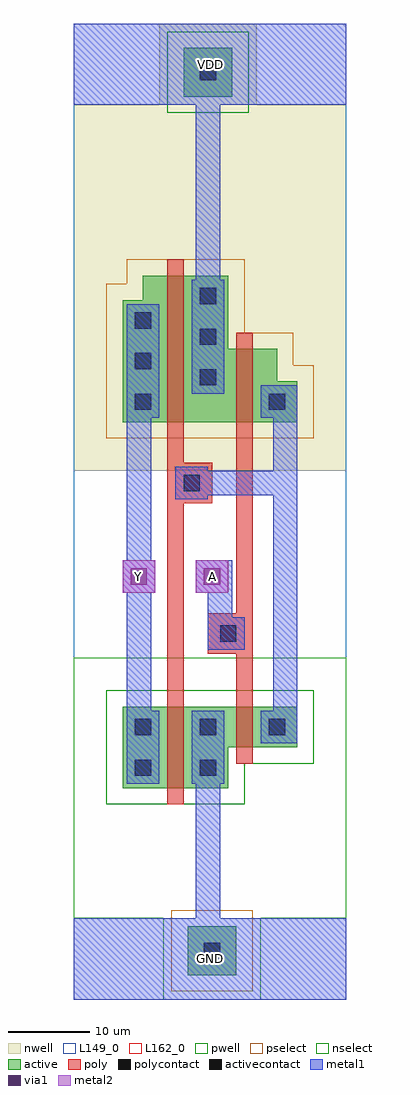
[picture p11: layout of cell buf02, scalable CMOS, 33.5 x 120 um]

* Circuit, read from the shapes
.subckt buf02 A GND VDD Y
M1 GND n1 Y GND nfet w=10u l=2u
M2 n1 A GND GND nfet w=5u l=2u
M3 VDD n1 Y VDD pfet w=18u l=2u
M4 n1 A VDD VDD pfet w=9u l=2u
.ends

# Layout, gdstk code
from math import pi, radians
import gdstk
lib = gdstk.Library(unit=1e-6, precision=1e-09)
def R(c, l, rs):  # rectangles x0, y0, x1, y1
    for r in rs: c.add(gdstk.rectangle(r[:2], r[2:], *l))
def A(c, l, x, y, w, h, nx, ny, dx, dy):  # array of equal rectangles
    R(c, l, [(x+i*dx, y+j*dy, x+i*dx+w, y+j*dy+h) for i in range(nx) for j in range(ny)])
def P(c, l, *ps):  # polygons
    for p in ps: c.add(gdstk.Polygon(p, *l))
pwell = (41, 0)
nwell = (42, 0)
active = (43, 0)
pselect = (44, 0)
nselect = (45, 0)
poly = (46, 0)
polycontact = (47, 0)
activecontact = (48, 0)
metal1 = (49, 0)
via1 = (50, 0)
metal2 = (51, 0)
L149_0 = (149, 0)
L162_0 = (162, 0)

pwell_contact = lib.new_cell('pwell_contact')
R(pwell_contact, pwell, [(-6,-6,6,5)])
R(pwell_contact, active, [(-3,-3,3,3)])
R(pwell_contact, pselect, [(-5,-5,5,5)])
R(pwell_contact, activecontact, [(-1,-1,1,1)])

nwell_contact = lib.new_cell('nwell_contact')
R(nwell_contact, nwell, [(-6,-5,6,6)])
R(nwell_contact, active, [(-3,-3,3,3)])
R(nwell_contact, nselect, [(-5,-5,5,5)])
R(nwell_contact, activecontact, [(-1,-1,1,1)])

via = lib.new_cell('via')
R(via, metal1, [(-2,-2,2,2)])
R(via, via1, [(-1,-1,1,1)])
R(via, metal2, [(-2,-2,2,2)])

buf02 = lib.new_cell('buf02')
R(buf02, pwell, [(0,10,33.5,20), (0,10,33.5,42)])
P(buf02, pwell, [(0,20),(25,20),(25,25),(33.5,25),(33.5,42),(0,42)])
R(buf02, nwell, [(0,65,33.5,110), (0,95,33.5,110)])
P(buf02, nwell, [(0,65),(0,92),(2.5,92),(2.5,95),(25,95),(25,86),(31,86),(31,82),(33.5,82),(33.5,65)])
P(buf02, active, [(6,26),(19,26),(19,31),(27.5,31),(27.5,36),(6,36)],
  [(6,71),(6,86),(8.5,86),(8.5,89),(19,89),(19,80),(25,80),(25,76),(27.5,76),(27.5,71)])
P(buf02, pselect, [(4,69),(4,88),(6.5,88),(6.5,91),(21,91),(21,82),(27,82),(27,78),(29.5,78),(29.5,69)])
P(buf02, nselect, [(4,24),(21,24),(21,29),(29.5,29),(29.5,38),(4,38)])
R(buf02, poly, [(11.5,24,13.5,26), (11.5,26,13.5,36), (20,29,22,31), (20,31,22,36), (11.5,36,13.5,38), (20,36,22,38), (16.5,42.5,21.5,47.5), (12,61,17,66), (11.5,69,13.5,71), (20,69,22,71), (11.5,71,13.5,89), (20,71,22,80), (20,80,22,82), (11.5,89,13.5,91)])
R(buf02, polycontact, [(18,44,20,46), (13.5,62.5,15.5,64.5)])
A(buf02, activecontact, 7.5, 72.5, 2, 2, 1, 3, 0, 5)
A(buf02, activecontact, 15.5, 75.5, 2, 2, 1, 3, 0, 5)
R(buf02, activecontact, [(7.5,27.5,9.5,29.5), (15.5,27.5,17.5,29.5), (7.5,32.5,9.5,34.5), (15.5,32.5,17.5,34.5), (24,32.5,26,34.5), (24,72.5,26,74.5)])
R(buf02, metal1, [(0,0,33.5,10), (0,0,33.5,10), (6.5,26.5,10.5,35.5), (14.5,26.5,18.5,35.5), (23,31.5,27,35.5), (17,43,21,47), (12.5,61.5,16.5,65.5), (6.5,71.5,10.5,85.5), (23,71.5,27,75.5), (14.5,74.5,18.5,88.5), (0,110,33.5,120), (0,110,33.5,120)])
R(buf02, metal2, [(6,50,10,54), (15,50,19,54)])
R(buf02, L149_0, [(0,0,33.5,10), (0,0,33.5,10), (0,0,33.5,120), (17,43,21,47), (12.5,61.5,16.5,65.5), (0,110,33.5,120), (0,110,33.5,120)])
R(buf02, L162_0, [(6,50,10,54), (15,50,19,54)])
buf02.add(gdstk.FlexPath([(8,71.5),(8,35.5)], 3, ends="flush", simple_path=True, layer=149, datatype=0))  # L149_0
buf02.add(gdstk.FlexPath([(16.5,88.5),(16.5,110)], 3, ends="flush", simple_path=True, layer=149, datatype=0))  # L149_0
buf02.add(gdstk.FlexPath([(16.5,26.5),(16.5,10)], 3, ends="flush", simple_path=True, layer=149, datatype=0))  # L149_0
buf02.add(gdstk.FlexPath([(18,43),(18,54)], 3, ends="flush", simple_path=True, layer=149, datatype=0))  # L149_0
buf02.add(gdstk.FlexPath([(16.5,63.5),(24.5,63.5)], 3, ends="flush", simple_path=True, layer=149, datatype=0))  # L149_0
buf02.add(gdstk.FlexPath([(26,31.5),(26,75.5)], 3, ends="flush", simple_path=True, layer=149, datatype=0))  # L149_0
buf02.add(gdstk.FlexPath([(8,71.5),(8,35.5)], 3, ends="flush", simple_path=True, layer=49, datatype=0))  # metal1
buf02.add(gdstk.FlexPath([(16.5,88.5),(16.5,110)], 3, ends="flush", simple_path=True, layer=49, datatype=0))  # metal1
buf02.add(gdstk.FlexPath([(16.5,26.5),(16.5,10)], 3, ends="flush", simple_path=True, layer=49, datatype=0))  # metal1
buf02.add(gdstk.FlexPath([(18,43),(18,54)], 3, ends="flush", simple_path=True, layer=49, datatype=0))  # metal1
buf02.add(gdstk.FlexPath([(16.5,63.5),(24.5,63.5)], 3, ends="flush", simple_path=True, layer=49, datatype=0))  # metal1
buf02.add(gdstk.FlexPath([(26,31.5),(26,75.5)], 3, ends="flush", simple_path=True, layer=49, datatype=0))  # metal1
buf02.add(gdstk.FlexPath([(21,69),(21,38)], 2, ends="flush", simple_path=True, layer=46, datatype=0))  # poly
buf02.add(gdstk.FlexPath([(12.5,69),(12.5,38)], 2, ends="flush", simple_path=True, layer=46, datatype=0))  # poly
buf02.add(gdstk.Reference(pwell_contact, (17,6)))
buf02.add(gdstk.Reference(nwell_contact, (16.5,114)))
buf02.add(gdstk.Reference(via, (8,52)))
buf02.add(gdstk.Reference(via, (17,52), rotation=pi/2))
buf02.add(gdstk.Label('Y', (8,52), layer=3, texttype=0))
buf02.add(gdstk.Label('A', (17,52), layer=3, texttype=0))
buf02.add(gdstk.Label('GND', (16.75,5), layer=2, texttype=0))
buf02.add(gdstk.Label('VDD', (16.75,115), layer=2, texttype=0))

lib.write_gds('buf02.gds')
